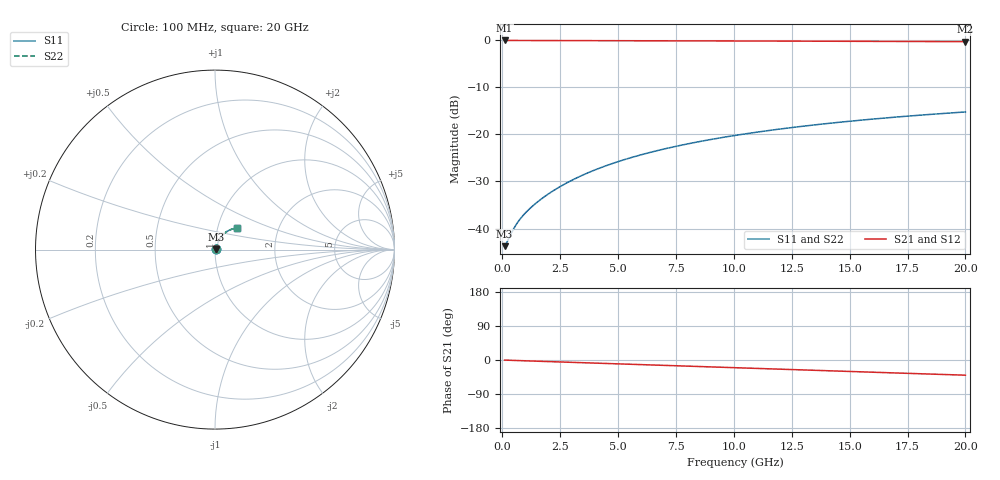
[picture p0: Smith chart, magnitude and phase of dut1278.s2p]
! Touchstone file exported from HFSS 2026.1.0
!  File:  C:/ffzhzh/LocalFiles/Ansys_Project_Files/temp_train_TMRDL_1278_1783164290_51560.aedt
!  Generated:  07:25:59 PM Jul  4, 2026
!  Design:  TMRDL
!  Project:  temp_train_TMRDL_1278_1783164290_51560
! Variables:
!  h_bsmrdl = 2um
!  h_ox = 20um
!  h_rdl = 5um
!  h_sub = 80um
!  h_tmrdl = 2.3um
!  h_tsv = 80um
!  h_via = 3um
!  l_bsmrdl = 300um
!  l_sub = 1092.03um
!  l_tmrdl = 692.03um
!  m_sub = 200um
!  pitch = 23.68um
!  r_tsv = 6um
!  s_tmrdl = 10um
!  w_bsmrdl = 18um
!  w_sub = 500um
!  w_tmrdl = 17.4um
!  x_tsv_center1 = 700.73um
!  x_tsv_center2 = 1018.73um
!  x_tsv_center3 = 1728.16um
!  x_tsv_center4 = 2046.16um
!  x_tsv_center5 = 2755.59um
!  x_tsv_center6 = 3073.59um
# GHz S MA R 50.000000
! Terminal data exported
! Port[1] = TM_RDL1_1_T1
! Port[2] = TM_RDL1_1_T2
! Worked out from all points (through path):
!   200 points, 100 MHz to 20 GHz, reference 50 ohm
!   highest |S21| = -0.06 dB at 100 MHz (marker M1); lowest = -0.3 dB at 20 GHz (marker M2)
!   group delay of S21, straight-line fit = 5.56 ps
!   lowest |S11| = -43.8 dB at 100 MHz (marker M3), VSWR 1.01, Z = 50.6 + j0.149 ohm
!   |S11| at or under -10 dB: start of sweep to end of sweep
!   |S22| runs from -43.8 to -15.2 dB; largest |S21 - S12| = 2e-15
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0.1  0.006491 13.1  0.9937 -0.2  0.9937 -0.2  0.006491 13.1
! Gamma 0 0 0 0
! Port Impedance 50 0 50 0
0.2  0.007138 23.9  0.9935 -0.5  0.9935 -0.5  0.007138 23.9
0.4  0.009017 37.3  0.9929 -0.9  0.9929 -0.9  0.009017 37.3
0.5  0.01002 41.2  0.9926 -1.1  0.9926 -1.1  0.01002 41.2
0.6  0.01101 44.1  0.9922 -1.3  0.9922 -1.3  0.01101 44.1
0.7  0.01196 46.5  0.992 -1.5  0.992 -1.5  0.01196 46.5
0.9  0.01378 50.1  0.9915 -2.0  0.9915 -2.0  0.01378 50.1
1.2  0.01639 54.2  0.9909 -2.6  0.9909 -2.6  0.01639 54.2
1.7  0.02072 59.2  0.9904 -3.6  0.9904 -3.6  0.02071 59.2
2.2  0.02516 62.6  0.99 -4.6  0.99 -4.6  0.02516 62.6
2.8  0.03065 65.0  0.9895 -5.8  0.9895 -5.8  0.03064 65.1
3.5  0.03717 66.6  0.989 -7.2  0.989 -7.2  0.03717 66.6
4.2  0.04377 67.3  0.9885 -8.7  0.9885 -8.7  0.04376 67.3
5  0.05133 67.3  0.9877 -10.3  0.9877 -10.3  0.05132 67.4
5.9  0.05979 66.9  0.9868 -12.1  0.9868 -12.1  0.05978 66.9
6.8  0.06817 66.0  0.9858 -13.9  0.9858 -13.9  0.06815 66.0
8.4  0.08279 63.9  0.9838 -17.2  0.9838 -17.2  0.08277 64.0
10.1  0.09783 61.3  0.9814 -20.6  0.9814 -20.6  0.0978 61.3
11.7  0.1115 58.6  0.9789 -23.8  0.9789 -23.8  0.1114 58.6
13.4  0.1253 55.6  0.9762 -27.2  0.9762 -27.2  0.1253 55.7
16.7  0.1504 49.6  0.9707 -33.7  0.9707 -33.7  0.1504 49.7
20  0.1729 43.6  0.9652 -40.1  0.9652 -40.1  0.1728 43.7
